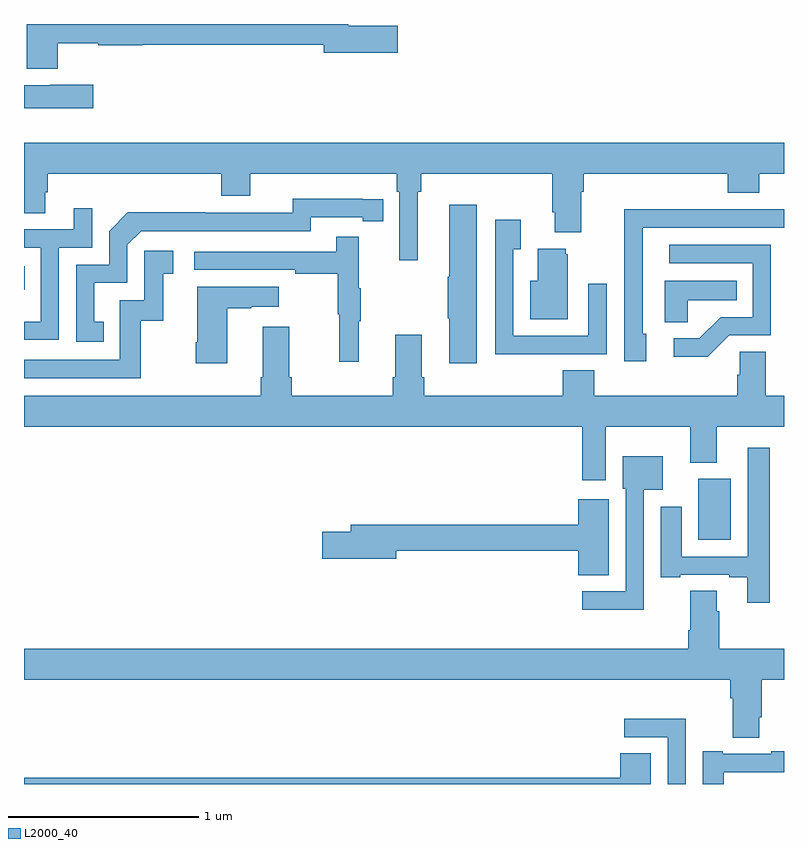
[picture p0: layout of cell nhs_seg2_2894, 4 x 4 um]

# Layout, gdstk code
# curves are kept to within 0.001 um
import gdstk
lib = gdstk.Library(unit=1e-6, precision=1e-09)
def R(c, l, rs):  # rectangles x0, y0, x1, y1
    for r in rs: c.add(gdstk.rectangle(r[:2], r[2:], *l))
def P(c, l, *ps):  # polygons
    for p in ps: c.add(gdstk.Polygon(p, *l))
L2000_40 = (2000, 40)

nhs_seg2_2894 = lib.new_cell('nhs_seg2_2894')
R(nhs_seg2_2894, L2000_40, [(266.549,603.086,266.719,603.406), (263,604.401,263.003,604.524)])
P(nhs_seg2_2894, L2000_40, [(263.177,605.699),(263.391,605.699),(263.391,605.687),(263.622,605.687),(263.622,605.692),(264.578,605.692),(264.578,605.65),(264.967,605.65),(264.967,605.792),(264.706,605.792),(264.706,605.8),(263.015,605.8),(263.015,605.564),(263.177,605.564)],
  [(263.365,605.479),(263.138,605.479),(263.138,605.478),(263,605.478),(263,605.357),(263.365,605.357)],
  [(265.072,604.916),(265.091,604.916),(265.091,605.012),(265.781,605.012),(265.781,604.81),(265.793,604.81),(265.793,604.703),(265.933,604.703),(265.933,604.916),(265.946,604.916),(265.946,605.012),(266.705,605.012),(266.705,604.913),(266.87,604.913),(266.87,605.012),(267,605.012),(267,605.176),(263,605.176),(263,604.804),(263.113,604.804),(263.113,604.914),(263.126,604.914),(263.126,605.012),(264.038,605.012),(264.038,604.895),(264.19,604.895),(264.19,605.012),(264.962,605.012),(264.962,604.916),(264.975,604.916),(264.975,604.557),(265.072,604.557)],
  [(263.42,604.233),(263.371,604.233),(263.371,604.437),(263.544,604.437),(263.544,604.638),(263.616,604.71),(264.51,604.71),(264.51,604.782),(264.782,604.782),(264.782,604.762),(264.89,604.762),(264.89,604.878),(264.414,604.879),(264.414,604.806),(263.954,604.806),(263.954,604.808),(263.546,604.808),(263.448,604.71),(263.448,604.533),(263.274,604.533),(263.274,604.128),(263.42,604.128)],
  [(265.384,604.849),(265.238,604.849),(265.238,604.469),(265.231,604.469),(265.231,604.252),(265.238,604.252),(265.238,604.014),(265.384,604.014)],
  [(263.184,604.623),(263.358,604.623),(263.358,604.831),(263.261,604.831),(263.261,604.719),(263,604.719),(263,604.623),(263.088,604.623),(263.088,604.234),(263,604.234),(263,604.137),(263.184,604.137)],
  [(266.275,604.17),(266.256,604.17),(266.256,604.728),(267,604.728),(267,604.824),(266.621,604.824),(266.621,604.826),(266.158,604.826),(266.158,604.519),(266.16,604.519),(266.16,604.026),(266.275,604.026)],
  [(265.751,604.062),(266.067,604.062),(266.067,604.432),(265.971,604.432),(265.971,604.158),(265.575,604.158),(265.575,604.615),(265.615,604.615),(265.615,604.771),(265.479,604.771),(265.479,604.061),(265.751,604.061)],
  [(264.761,604.235),(264.772,604.235),(264.772,604.409),(264.761,604.409),(264.761,604.681),(264.643,604.681),(264.643,604.602),(263.895,604.602),(263.895,604.506),(264.427,604.506),(264.427,604.486),(264.651,604.486),(264.651,604.272),(264.658,604.272),(264.658,604.023),(264.761,604.023)],
  [(266.712,604.161),(266.931,604.161),(266.931,604.638),(266.397,604.638),(266.397,604.542),(266.835,604.542),(266.835,604.257),(266.666,604.257),(266.555,604.146),(266.421,604.146),(266.421,604.049),(266.599,604.049)],
  [(265.861,604.587),(265.85,604.587),(265.85,604.618),(265.703,604.618),(265.703,604.45),(265.664,604.45),(265.664,604.247),(265.861,604.247)],
  [(263.614,604.239),(263.732,604.239),(263.732,604.485),(263.785,604.485),(263.785,604.606),(263.634,604.606),(263.634,604.347),(263.505,604.347),(263.505,604.032),(263,604.032),(263,603.936),(263.614,603.936)],
  [(266.493,604.346),(266.75,604.346),(266.75,604.45),(266.372,604.45),(266.372,604.231),(266.493,604.231)],
  [(264.07,604.303),(264.197,604.303),(264.197,604.313),(264.34,604.313),(264.34,604.417),(263.912,604.417),(263.912,604.126),(263.905,604.126),(263.905,604.014),(264.07,604.014)],
  [(266.062,603.68),(266.507,603.68),(266.507,603.491),(266.647,603.491),(266.647,603.68),(267,603.68),(267,603.844),(266.905,603.844),(266.905,604.076),(266.766,604.076),(266.766,603.953),(266.753,603.953),(266.753,603.844),(266,603.844),(266,603.977),(265.835,603.977),(265.835,603.844),(265.106,603.844),(265.106,603.94),(265.093,603.94),(265.093,604.165),(264.953,604.165),(264.953,603.94),(264.941,603.94),(264.941,603.844),(264.41,603.844),(264.41,603.94),(264.397,603.94),(264.397,604.207),(264.257,604.207),(264.257,603.94),(264.245,603.94),(264.245,603.844),(263,603.844),(263,603.68),(265.937,603.68),(265.937,603.399),(266.062,603.399)],
  [(266.924,603.571),(266.808,603.571),(266.808,602.997),(266.461,602.997),(266.461,603.259),(266.351,603.259),(266.351,602.889),(266.455,602.889),(266.455,602.901),(266.711,602.901),(266.711,602.889),(266.807,602.889),(266.807,602.754),(266.924,602.754)],
  [(266.262,603.35),(266.362,603.35),(266.362,603.526),(266.15,603.526),(266.15,603.354),(266.166,603.354),(266.166,602.814),(265.938,602.814),(265.938,602.717),(266.262,602.717)],
  [(266.077,603.298),(265.916,603.298),(265.916,603.164),(264.719,603.164),(264.719,603.128),(264.57,603.128),(264.57,602.986),(264.958,602.986),(264.958,603.028),(265.916,603.028),(265.916,602.899),(266.077,602.899)],
  [(266.869,602.152),(266.882,602.152),(266.882,602.348),(267,602.348),(267,602.512),(266.66,602.512),(266.66,602.708),(266.647,602.708),(266.647,602.816),(266.507,602.816),(266.507,602.608),(266.495,602.608),(266.495,602.512),(263,602.512),(263,602.348),(266.717,602.348),(266.717,602.252),(266.729,602.252),(266.729,602.044),(266.869,602.044)],
  [(266.484,602.144),(266.16,602.144),(266.16,602.046),(266.388,602.046),(266.388,601.8),(266.484,601.8)],
  [(266.683,601.863),(267,601.863),(267,601.972),(266.933,601.972),(266.933,601.959),(266.677,601.959),(266.677,601.972),(266.573,601.972),(266.573,601.8),(266.683,601.8)],
  [(266.299,601.961),(266.138,601.961),(266.138,601.832),(263,601.832),(263,601.8),(266.299,601.8)])

lib.write_gds('nhs_seg2_2894.gds')
